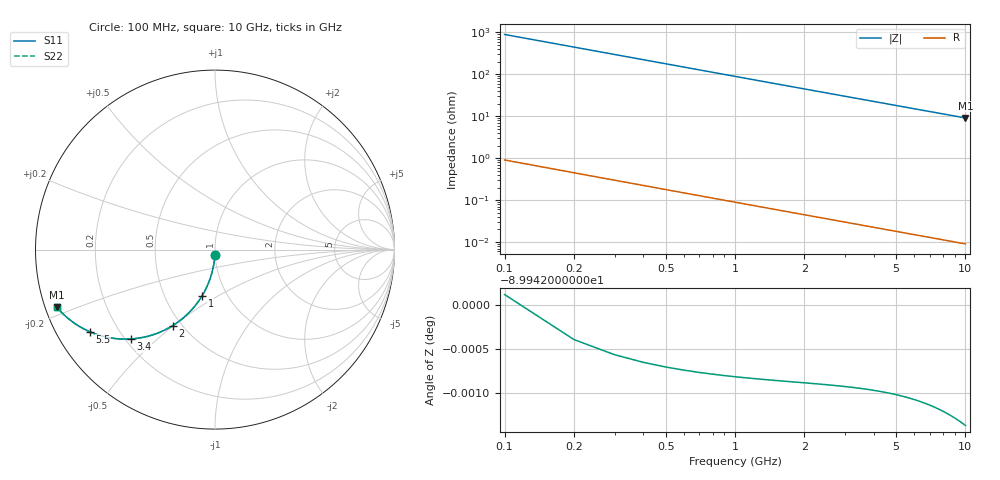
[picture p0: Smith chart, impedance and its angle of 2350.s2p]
# Hz S RI R 50.00
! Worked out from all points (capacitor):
!   100 points, 100 MHz to 10 GHz, reference 50 ohm
!   read as one part in shunt: C = 1.78 pF near 100 MHz
!   lowest |Z| = 9.14 ohm at 10 GHz (marker M1)
!   S11 on the Smith chart (normalised r, x): 100 MHz: 1.00, -0.06; 1 GHz: 0.76, -0.42; 2 GHz: 0.45, -0.50; 3.4 GHz: 0.22, -0.41; 5.5 GHz: 0.10, -0.30; 10 GHz: 0.03, -0.17
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1e8  -0.000804 -0.0279  0.9992 -0.0279  0.9992 -0.0279  -0.000804 -0.0279
2e8  -0.00316 -0.0556  0.9968 -0.0557  0.9968 -0.0557  -0.00316 -0.0556
3e8  -0.00705 -0.0831  0.9929 -0.0832  0.9929 -0.0832  -0.00705 -0.0831
4e8  -0.0124 -0.1102  0.9876 -0.1103  0.9876 -0.1103  -0.0124 -0.1102
5e8  -0.0192 -0.1367  0.9808 -0.1369  0.9808 -0.1369  -0.0192 -0.1367
6e8  -0.0274 -0.1627  0.9726 -0.1629  0.9726 -0.1629  -0.0274 -0.1627
7e8  -0.0369 -0.1879  0.9631 -0.1882  0.9631 -0.1882  -0.0369 -0.1879
8e8  -0.0476 -0.2123  0.9524 -0.2126  0.9524 -0.2126  -0.0476 -0.2123
1e9  -0.0723 -0.2583  0.9277 -0.2587  0.9277 -0.2587  -0.0723 -0.2583
1.2e9  -0.1008 -0.3003  0.8992 -0.3008  0.8992 -0.3008  -0.1008 -0.3003
1.4e9  -0.1321 -0.3379  0.8678 -0.3384  0.8678 -0.3384  -0.1321 -0.3379
1.8e9  -0.2006 -0.3996  0.7994 -0.4003  0.7994 -0.4003  -0.2006 -0.3996
2e9  -0.2363 -0.4239  0.7637 -0.4247  0.7637 -0.4247  -0.2363 -0.4239
2.3e9  -0.2899 -0.4528  0.7101 -0.4537  0.7101 -0.4537  -0.2899 -0.4528
2.7e9  -0.3595 -0.4788  0.6405 -0.4799  0.6405 -0.4799  -0.3595 -0.4788
3.4e9  -0.47 -0.4979  0.53 -0.4993  0.53 -0.4993  -0.47 -0.4979
4.2e9  -0.5741 -0.4931  0.4259 -0.4948  0.4259 -0.4948  -0.5741 -0.4931
5.1e9  -0.6645 -0.4706  0.3355 -0.4727  0.3355 -0.4727  -0.6645 -0.4706
5.5e9  -0.697 -0.4579  0.3029 -0.4602  0.3029 -0.4602  -0.697 -0.4579
6.7e9  -0.7729 -0.4171  0.2271 -0.4198  0.2271 -0.4198  -0.7729 -0.4171
8.4e9  -0.8421 -0.3624  0.1579 -0.3659  0.1579 -0.3659  -0.8421 -0.3624
1e10  -0.883 -0.3189  0.117 -0.323  0.117 -0.323  -0.883 -0.3189
